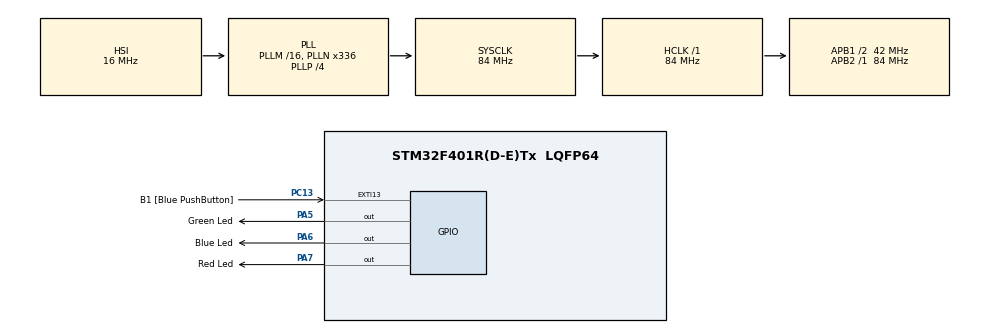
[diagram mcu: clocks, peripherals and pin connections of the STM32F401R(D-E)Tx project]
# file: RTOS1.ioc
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Mcu.Family=STM32F4
Mcu.Name=STM32F401R(D-E)Tx
Mcu.Package=LQFP64
NVIC.PriorityGroup=NVIC_PRIORITYGROUP_4
NVIC.TIM5_IRQn=true\:0\:0\:false\:false\:true\:false\:true\:true
NVIC.TimeBase=TIM5_IRQn
NVIC.TimeBaseIP=TIM5
PA13.GPIO_Label=TMS
PA13.Signal=SYS_JTMS-SWDIO
PA14.GPIO_Label=TCK
PA14.Signal=SYS_JTCK-SWCLK
PA2.GPIO_Label=USART_TX
PA2.GPIO_Mode=GPIO_MODE_AF_PP
PA2.GPIO_PuPd=GPIO_NOPULL
PA2.GPIO_Speed=GPIO_SPEED_FREQ_LOW
PA2.Signal=USART2_TX
PA3.GPIO_Label=USART_RX
PA3.GPIO_Mode=GPIO_MODE_AF_PP
PA3.GPIO_PuPd=GPIO_NOPULL
PA3.GPIO_Speed=GPIO_SPEED_FREQ_LOW
PA3.Signal=USART2_RX
PA5.GPIO_Label=Green Led
PA5.GPIO_Mode=GPIO_MODE_OUTPUT_PP
PA5.GPIO_PuPd=GPIO_NOPULL
PA5.GPIO_Speed=GPIO_SPEED_FREQ_LOW
PA5.Signal=GPIO_Output
PA6.GPIO_Label=Blue Led
PA6.Signal=GPIO_Output
PA7.GPIO_Label=Red Led
PA7.Signal=GPIO_Output
PB3.GPIO_Label=SWO
PB3.Signal=SYS_JTDO-SWO
PC13-ANTI_TAMP.GPIO_Label=B1 [Blue PushButton]
PC13-ANTI_TAMP.GPIO_ModeDefaultEXTI=GPIO_MODE_IT_FALLING
PC13-ANTI_TAMP.GPIO_PuPd=GPIO_NOPULL
PC13-ANTI_TAMP.Signal=GPXTI13
PC14-OSC32_IN.Signal=RCC_OSC32_IN
PC15-OSC32_OUT.Signal=RCC_OSC32_OUT
PH0\ -\ OSC_IN.Signal=RCC_OSC_IN
PH1\ -\ OSC_OUT.Signal=RCC_OSC_OUT
ProjectManager.HeapSize=0x200
ProjectManager.StackSize=0x400
ProjectManager.TargetToolchain=STM32CubeIDE
RCC.AHBFreq_Value=84000000
RCC.APB1CLKDivider=RCC_HCLK_DIV2
RCC.APB1Freq_Value=42000000
RCC.APB1TimFreq_Value=84000000
RCC.APB2Freq_Value=84000000
RCC.APB2TimFreq_Value=84000000
RCC.CortexFreq_Value=84000000
RCC.HCLKFreq_Value=84000000
RCC.HSE_VALUE=8000000
RCC.HSI_VALUE=16000000
RCC.LSE_VALUE=32768
RCC.PLLN=336
RCC.PLLP=RCC_PLLP_DIV4
RCC.PLLQ=7
RCC.SYSCLKFreq_VALUE=84000000
RCC.SYSCLKSource=RCC_SYSCLKSOURCE_PLLCLK
RCC.VCOOutputFreq_Value=336000000
VP_SYS_VS_tim5.Mode=TIM5
board=NUCLEO-F401RE

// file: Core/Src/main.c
/* USER CODE BEGIN Header */
/**
  ******************************************************************************
  * @file           : main.c
  * @brief          : Main program body
  ******************************************************************************
  * @attention
  *
  * Copyright (c) 2026 STMicroelectronics.
  * All rights reserved.
  *
  * This software is licensed under terms that can be found in the LICENSE file
  * in the root directory of this software component.
  * If no LICENSE file comes with this software, it is provided AS-IS.
  *
  ******************************************************************************
  */
/* USER CODE END Header */
#include "main.h"

/* USER CODE BEGIN Includes */
#include <stdio.h>
#include "FreeRTOS.h"
#include "task.h"
/* USER CODE END Includes */

void SystemClock_Config(void);
static void MX_GPIO_Init(void);
/* USER CODE BEGIN PFP */
static void led_green_handler(void * pvParameters);
static void led_red_handler(void * pvParameters);
static void led_blue_handler(void * pvParameters);

/* USER CODE END PFP */

int main(void)
{

  /* USER CODE BEGIN 1 */
	TaskHandle_t task1_handle;
	TaskHandle_t task2_handle;
	TaskHandle_t task3_handle;
	BaseType_t  xReturned;
  /* USER CODE END 1 */

  /* MCU Configuration--------------------------------------------------------*/

  /* Reset of all peripherals, Initializes the Flash interface and the Systick. */
  HAL_Init();

  /* Configure the system clock */
  SystemClock_Config();

  /* Initialize all configured peripherals */
  MX_GPIO_Init();
  /* USER CODE BEGIN 2 */
  xReturned = xTaskCreate(
		              led_green_handler,       /* Function that implements the task. */
                      "Green led task",          /* Text name for the task. */
                      100,      /* Stack size in words, not bytes. */
                      NULL,    /* Parameter passed into the task. */
                      2,/* Priority at which the task is created. */
					  &task1_handle );      /* Used to pass out the created task's handle. */

  configASSERT(xReturned == pdPASS);

  xReturned = xTaskCreate(
  		                led_red_handler,       /* Function that implements the task. */
                        "Red led task",          /* Text name for the task. */
                        100,      /* Stack size in words, not bytes. */
                        NULL,    /* Parameter passed into the task. */
                        2,/* Priority at which the task is created. */
  					    &task2_handle );      /* Used to pass out the created task's handle. */

    configASSERT(xReturned == pdPASS);

    xReturned = xTaskCreate(
    		              led_blue_handler,       /* Function that implements the task. */
                          "Blue led task",          /* Text name for the task. */
                          100,      /* Stack size in words, not bytes. */
                          NULL,    /* Parameter passed into the task. */
                          2,/* Priority at which the task is created. */
    					  &task3_handle );      /* Used to pass out the created task's handle. */

      configASSERT(xReturned == pdPASS);

  vTaskStartScheduler();
  /* USER CODE END 2 */

  /* Infinite loop */
  while (1)
  {

  }
}

void SystemClock_Config(void)
{
  RCC_OscInitTypeDef RCC_OscInitStruct = {0};
  RCC_ClkInitTypeDef RCC_ClkInitStruct = {0};

  /** Configure the main internal regulator output voltage
  */
  __HAL_RCC_PWR_CLK_ENABLE();
  __HAL_PWR_VOLTAGESCALING_CONFIG(PWR_REGULATOR_VOLTAGE_SCALE2);

  /** Initializes the RCC Oscillators according to the specified parameters
  * in the RCC_OscInitTypeDef structure.
  */
  RCC_OscInitStruct.OscillatorType = RCC_OSCILLATORTYPE_HSI;
  RCC_OscInitStruct.HSIState = RCC_HSI_ON;
  RCC_OscInitStruct.HSICalibrationValue = RCC_HSICALIBRATION_DEFAULT;
  RCC_OscInitStruct.PLL.PLLState = RCC_PLL_ON;
  RCC_OscInitStruct.PLL.PLLSource = RCC_PLLSOURCE_HSI;
  RCC_OscInitStruct.PLL.PLLM = 16;
  RCC_OscInitStruct.PLL.PLLN = 336;
  RCC_OscInitStruct.PLL.PLLP = RCC_PLLP_DIV4;
  RCC_OscInitStruct.PLL.PLLQ = 7;
  if (HAL_RCC_OscConfig(&RCC_OscInitStruct) != HAL_OK)
  {
    Error_Handler();
  }

  /** Initializes the CPU, AHB and APB buses clocks
  */
  RCC_ClkInitStruct.ClockType = RCC_CLOCKTYPE_HCLK|RCC_CLOCKTYPE_SYSCLK
                              |RCC_CLOCKTYPE_PCLK1|RCC_CLOCKTYPE_PCLK2;
  RCC_ClkInitStruct.SYSCLKSource = RCC_SYSCLKSOURCE_PLLCLK;
  RCC_ClkInitStruct.AHBCLKDivider = RCC_SYSCLK_DIV1;
  RCC_ClkInitStruct.APB1CLKDivider = RCC_HCLK_DIV2;
  RCC_ClkInitStruct.APB2CLKDivider = RCC_HCLK_DIV1;

  if (HAL_RCC_ClockConfig(&RCC_ClkInitStruct, FLASH_LATENCY_2) != HAL_OK)
  {
    Error_Handler();
  }
}

static void MX_GPIO_Init(void)
{
  GPIO_InitTypeDef GPIO_InitStruct = {0};

  /* GPIO Ports Clock Enable */
  __HAL_RCC_GPIOC_CLK_ENABLE();
  __HAL_RCC_GPIOH_CLK_ENABLE();
  __HAL_RCC_GPIOA_CLK_ENABLE();
  __HAL_RCC_GPIOB_CLK_ENABLE();

  /*Configure GPIO pin Output Level */
  HAL_GPIO_WritePin(GPIOA, Green_Led_Pin|Blue_Led_Pin|Red_Led_Pin, GPIO_PIN_RESET);

  /*Configure GPIO pin : B1_Pin */
  GPIO_InitStruct.Pin = B1_Pin;
  GPIO_InitStruct.Mode = GPIO_MODE_IT_FALLING;
  GPIO_InitStruct.Pull = GPIO_NOPULL;
  HAL_GPIO_Init(B1_GPIO_Port, &GPIO_InitStruct);

  /*Configure GPIO pins : USART_TX_Pin USART_RX_Pin */
  GPIO_InitStruct.Pin = USART_TX_Pin|USART_RX_Pin;
  GPIO_InitStruct.Mode = GPIO_MODE_AF_PP;
  GPIO_InitStruct.Pull = GPIO_NOPULL;
  GPIO_InitStruct.Speed = GPIO_SPEED_FREQ_LOW;
  GPIO_InitStruct.Alternate = GPIO_AF7_USART2;
  HAL_GPIO_Init(GPIOA, &GPIO_InitStruct);

  /*Configure GPIO pins : Green_Led_Pin Blue_Led_Pin Red_Led_Pin */
  GPIO_InitStruct.Pin = Green_Led_Pin|Blue_Led_Pin|Red_Led_Pin;
  GPIO_InitStruct.Mode = GPIO_MODE_OUTPUT_PP;
  GPIO_InitStruct.Pull = GPIO_NOPULL;
  GPIO_InitStruct.Speed = GPIO_SPEED_FREQ_LOW;
  HAL_GPIO_Init(GPIOA, &GPIO_InitStruct);

}

/* USER CODE BEGIN 4 */
static void led_green_handler(void * Parameters)
{
	while(1)
	{
		printf("task1\n");
		HAL_GPIO_TogglePin(Green_Led_GPIO_Port, Green_Led_Pin);
		HAL_Delay(1000);
		taskYIELD();

	}
}

static void led_red_handler(void * Parameters)
{
	while(1)
	{
		printf("task2\n");
		HAL_GPIO_TogglePin(Red_Led_GPIO_Port, Red_Led_Pin);
		HAL_Delay(800);
		taskYIELD();

	}
}

static void led_blue_handler(void * Parameters)
{
	while(1)
	{
		printf("task3\n");
		HAL_GPIO_TogglePin(Blue_Led_GPIO_Port, Blue_Led_Pin);
		HAL_Delay(400);
		taskYIELD();

	}
}

/* USER CODE END 4 */

void HAL_TIM_PeriodElapsedCallback(TIM_HandleTypeDef *htim)
{
  if (htim->Instance == TIM5)
  {
    HAL_IncTick();
  }
}

void Error_Handler(void)
{
  __disable_irq();
  while (1)
  {
  }
}
